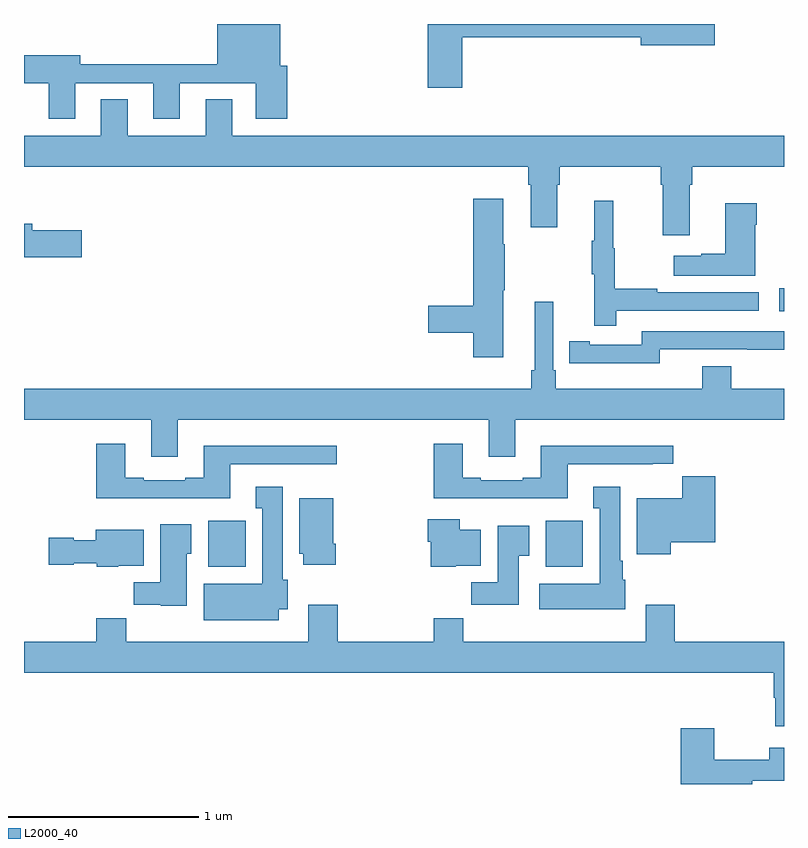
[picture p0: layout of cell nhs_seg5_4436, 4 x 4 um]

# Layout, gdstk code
import gdstk
lib = gdstk.Library(unit=1e-6, precision=1e-09)
def R(c, l, rs):  # rectangles x0, y0, x1, y1
    for r in rs: c.add(gdstk.rectangle(r[:2], r[2:], *l))
def P(c, l, *ps):  # polygons
    for p in ps: c.add(gdstk.Polygon(p, *l))
L2000_40 = (2000, 40)

nhs_seg5_4436 = lib.new_cell('nhs_seg5_4436')
R(nhs_seg5_4436, L2000_40, [(371.969,899.942,372.166,900.184), (373.745,899.942,373.942,900.184), (374.976,901.287,375,901.407)])
P(nhs_seg5_4436, L2000_40, [(373.307,902.728),(374.246,902.728),(374.246,902.686),(374.635,902.686),(374.635,902.799),(373.124,902.799),(373.124,902.463),(373.307,902.463)],
  [(371.269,902.487),(371.681,902.487),(371.681,902.301),(371.821,902.301),(371.821,902.487),(372.221,902.487),(372.221,902.301),(372.386,902.301),(372.386,902.58),(372.349,902.58),(372.349,902.799),(372.017,902.799),(372.017,902.588),(371.296,902.588),(371.296,902.635),(371,902.635),(371,902.487),(371.129,902.487),(371.129,902.301),(371.269,902.301)],
  [(374.503,901.952),(374.516,901.952),(374.516,902.048),(375,902.048),(375,902.212),(372.097,902.212),(372.097,902.402),(371.957,902.402),(371.957,902.212),(371.545,902.212),(371.545,902.402),(371.405,902.402),(371.405,902.212),(371,902.212),(371,902.048),(373.655,902.048),(373.655,901.952),(373.667,901.952),(373.667,901.728),(373.807,901.728),(373.807,901.952),(373.82,901.952),(373.82,902.048),(374.351,902.048),(374.351,901.952),(374.363,901.952),(374.363,901.686),(374.503,901.686)],
  [(373.522,901.399),(373.53,901.399),(373.53,901.64),(373.522,901.64),(373.522,901.879),(373.364,901.879),(373.364,901.316),(373.128,901.316),(373.128,901.174),(373.364,901.174),(373.364,901.044),(373.522,901.044)],
  [(374.117,901.29),(374.866,901.29),(374.866,901.386),(374.333,901.386),(374.333,901.406),(374.11,901.406),(374.11,901.62),(374.102,901.62),(374.102,901.87),(374,901.87),(374,901.657),(373.989,901.657),(373.989,901.483),(374,901.483),(374,901.212),(374.117,901.212)],
  [(374.848,901.742),(374.856,901.742),(374.856,901.855),(374.69,901.855),(374.69,901.589),(374.564,901.589),(374.564,901.579),(374.421,901.579),(374.421,901.475),(374.848,901.475)],
  [(371.305,901.713),(371.044,901.713),(371.044,901.747),(371,901.747),(371,901.571),(371.305,901.571)],
  [(371.809,900.716),(373.445,900.716),(373.445,900.522),(373.585,900.522),(373.585,900.716),(375,900.716),(375,900.88),(374.723,900.88),(374.723,900.997),(374.57,900.997),(374.57,900.88),(373.799,900.88),(373.799,900.976),(373.785,900.976),(373.785,901.336),(373.688,901.336),(373.688,900.976),(373.669,900.976),(373.669,900.88),(371,900.88),(371,900.716),(371.669,900.716),(371.669,900.522),(371.809,900.522)],
  [(374.346,901.086),(374.806,901.086),(374.806,901.085),(375,901.085),(375,901.182),(374.25,901.182),(374.25,901.11),(373.978,901.11),(373.978,901.13),(373.87,901.13),(373.87,901.014),(373.978,901.014),(373.978,901.013),(374.346,901.013)],
  [(373.861,900.483),(374.309,900.483),(374.309,900.485),(374.418,900.485),(374.418,900.58),(373.721,900.58),(373.721,900.412),(373.625,900.412),(373.625,900.399),(373.405,900.399),(373.405,900.412),(373.309,900.412),(373.309,900.589),(373.157,900.589),(373.157,900.302),(373.861,900.302)],
  [(372.085,900.483),(372.646,900.483),(372.646,900.58),(371.945,900.58),(371.945,900.412),(371.849,900.412),(371.849,900.399),(371.629,900.399),(371.629,900.412),(371.533,900.412),(371.533,900.589),(371.381,900.589),(371.381,900.302),(372.085,900.302)],
  [(374.404,900.071),(374.639,900.071),(374.639,900.42),(374.465,900.42),(374.465,900.304),(374.225,900.304),(374.225,900.008),(374.404,900.008)],
  [(372.34,899.72),(372.388,899.72),(372.388,899.874),(372.361,899.874),(372.361,900.364),(372.221,900.364),(372.221,900.251),(372.254,900.251),(372.254,899.854),(371.945,899.854),(371.945,899.66),(372.34,899.66)],
  [(374.164,899.874),(374.152,899.874),(374.152,899.974),(374.137,899.974),(374.137,900.364),(373.997,900.364),(373.997,900.251),(374.03,900.251),(374.03,899.854),(373.713,899.854),(373.713,899.72),(374.164,899.72)],
  [(372.641,900.064),(372.628,900.064),(372.628,900.304),(372.449,900.304),(372.449,900.012),(372.47,900.012),(372.47,899.952),(372.641,899.952)],
  [(373.272,899.948),(373.405,899.948),(373.405,900.136),(373.294,900.136),(373.294,900.193),(373.124,900.193),(373.124,900.075),(373.142,900.075),(373.142,899.942),(373.272,899.942)],
  [(371.857,900.012),(371.881,900.012),(371.881,900.166),(371.717,900.166),(371.717,899.86),(371.578,899.86),(371.578,899.742),(371.721,899.742),(371.721,899.738),(371.857,899.738)],
  [(373.603,900.001),(373.66,900.001),(373.66,900.157),(373.493,900.157),(373.493,899.86),(373.354,899.86),(373.354,899.742),(373.603,899.742)],
  [(371.496,899.948),(371.629,899.948),(371.629,900.136),(371.378,900.136),(371.378,900.082),(371.262,900.082),(371.262,900.095),(371.13,900.095),(371.13,899.953),(371.262,899.953),(371.262,899.96),(371.382,899.96),(371.382,899.942),(371.496,899.942)],
  [(375,899.548),(374.426,899.548),(374.426,899.743),(374.273,899.743),(374.273,899.548),(373.313,899.548),(373.313,899.672),(373.157,899.672),(373.157,899.548),(372.65,899.548),(372.65,899.743),(372.497,899.743),(372.497,899.548),(371.537,899.548),(371.537,899.672),(371.381,899.672),(371.381,899.548),(371,899.548),(371,899.384),(374.947,899.384),(374.947,899.252),(374.955,899.252),(374.955,899.103),(375,899.103)],
  [(374.834,898.816),(375,898.816),(375,898.99),(374.923,898.99),(374.923,898.927),(374.634,898.927),(374.634,899.092),(374.456,899.092),(374.456,898.799),(374.834,898.799)])

lib.write_gds('nhs_seg5_4436.gds')
